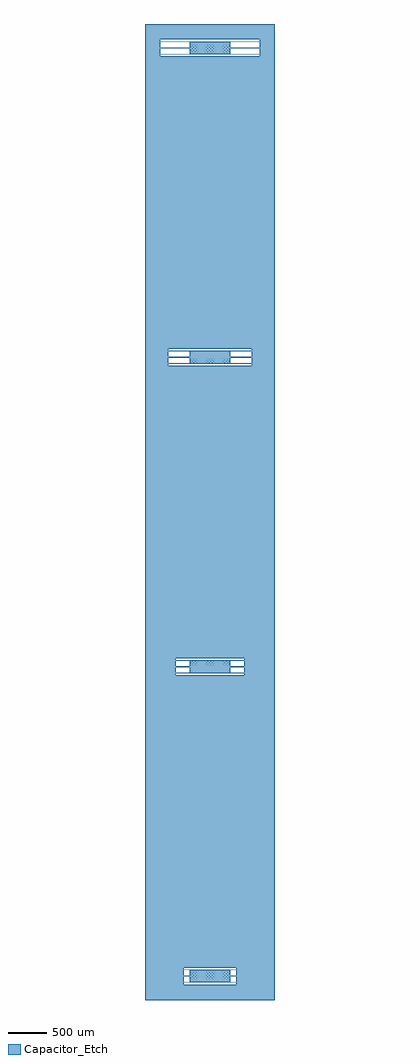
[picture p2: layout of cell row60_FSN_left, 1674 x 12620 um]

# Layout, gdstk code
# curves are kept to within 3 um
import gdstk
lib = gdstk.Library(unit=1e-6, precision=1e-09)
def R(c, l, rs):  # rectangles x0, y0, x1, y1
    for r in rs: c.add(gdstk.rectangle(r[:2], r[2:], *l))
def P(c, l, *ps):  # polygons
    for p in ps: c.add(gdstk.Polygon(p, *l))
Capacitor_Etch = (7, 0)

row60_fsn_left = lib.new_cell('row60_FSN_left')
R(row60_fsn_left, Capacitor_Etch, [(4495.25,12680,4635.25,12880), (4635.25,12680,4775.25,12880)])
P(row60_fsn_left, Capacitor_Etch, [(4635.25,488),(4635.25,575),(3813,575),(3813,498),(4309,498),(4309,559),(4315,565),(4385,565),(4391,555.25),(4395.25,555.25),(4395.25,564.75),(4404.75,564.75),(4404.75,555.25),(4435.25,555.25),(4435.25,564.75),(4444.75,564.75),(4444.75,555.25),(4475.25,555.25),(4475.25,564.75),(4484.75,564.75),(4484.75,555.25),(4515.25,555.25),(4515.25,564.75),(4524.75,564.75),(4524.75,555.25),(4555.25,555.25),(4555.25,564.75),(4564.75,564.75),(4564.75,555.25),(4595.25,555.25),(4595.25,564.75),(4604.75,564.75),(4604.75,555.25),(4391,555.25),(4391,535.25),(4415.25,535.25),(4415.25,544.75),(4424.75,544.75),(4424.75,535.25),(4455.25,535.25),(4455.25,544.75),(4464.75,544.75),(4464.75,535.25),(4495.25,535.25),(4495.25,544.75),(4504.75,544.75),(4504.75,535.25),(4535.25,535.25),(4535.25,544.75),(4544.75,544.75),(4544.75,535.25),(4575.25,535.25),(4575.25,544.75),(4584.75,544.75),(4584.75,535.25),(4615.25,535.25),(4615.25,544.75),(4624.75,544.75),(4624.75,535.25),(4391,535.25),(4391,515.25),(4395.25,515.25),(4395.25,524.75),(4404.75,524.75),(4404.75,515.25),(4435.25,515.25),(4435.25,524.75),(4444.75,524.75),(4444.75,515.25),(4475.25,515.25),(4475.25,524.75),(4484.75,524.75),(4484.75,515.25),(4515.25,515.25),(4515.25,524.75),(4524.75,524.75),(4524.75,515.25),(4555.25,515.25),(4555.25,524.75),(4564.75,524.75),(4564.75,515.25),(4595.25,515.25),(4595.25,524.75),(4604.75,524.75),(4604.75,515.25),(4391,515.25),(4388.25,495.25),(4415.25,495.25),(4415.25,504.75),(4424.75,504.75),(4424.75,495.25),(4455.25,495.25),(4455.25,504.75),(4464.75,504.75),(4464.75,495.25),(4495.25,495.25),(4495.25,504.75),(4504.75,504.75),(4504.75,495.25),(4535.25,495.25),(4535.25,504.75),(4544.75,504.75),(4544.75,495.25),(4575.25,495.25),(4575.25,504.75),(4584.75,504.75),(4584.75,495.25),(4615.25,495.25),(4615.25,504.75),(4624.75,504.75),(4624.75,495.25),(4315,492),(4309,498),(3813,498),(3813,260),(4635.25,260),(4635.25,460),(4309,460),(4309,488)],
  [(4635.25,564.75),(4644.75,564.75),(4644.75,555.25),(4675.25,555.25),(4675.25,564.75),(4684.75,564.75),(4684.75,555.25),(4715.25,555.25),(4715.25,564.75),(4724.75,564.75),(4724.75,555.25),(4755.25,555.25),(4755.25,564.75),(4764.75,564.75),(4764.75,555.25),(4795.25,555.25),(4795.25,564.75),(4804.75,564.75),(4804.75,555.25),(4835.25,555.25),(4835.25,564.75),(4844.75,564.75),(4844.75,555.25),(4875.25,555.25),(4875.25,564.75),(4884.75,564.75),(4884.75,555.25),(4635.25,555.25),(4635.25,535.25),(4655.25,535.25),(4655.25,544.75),(4664.75,544.75),(4664.75,535.25),(4695.25,535.25),(4695.25,544.75),(4704.75,544.75),(4704.75,535.25),(4735.25,535.25),(4735.25,544.75),(4744.75,544.75),(4744.75,535.25),(4775.25,535.25),(4775.25,544.75),(4784.75,544.75),(4784.75,535.25),(4815.25,535.25),(4815.25,544.75),(4824.75,544.75),(4824.75,535.25),(4855.25,535.25),(4855.25,544.75),(4864.75,544.75),(4864.75,535.25),(4895.25,535.25),(4895.25,544.75),(4904.75,544.75),(4904.75,535.25),(4635.25,535.25),(4635.25,524.75),(4644.75,524.75),(4644.75,515.25),(4675.25,515.25),(4675.25,524.75),(4684.75,524.75),(4684.75,515.25),(4715.25,515.25),(4715.25,524.75),(4724.75,524.75),(4724.75,515.25),(4755.25,515.25),(4755.25,524.75),(4764.75,524.75),(4764.75,515.25),(4795.25,515.25),(4795.25,524.75),(4804.75,524.75),(4804.75,515.25),(4835.25,515.25),(4835.25,524.75),(4844.75,524.75),(4844.75,515.25),(4875.25,515.25),(4875.25,524.75),(4884.75,524.75),(4884.75,515.25),(4635.25,515.25),(4635.25,495.25),(4655.25,495.25),(4655.25,504.75),(4664.75,504.75),(4664.75,495.25),(4695.25,495.25),(4695.25,504.75),(4704.75,504.75),(4704.75,495.25),(4735.25,495.25),(4735.25,504.75),(4744.75,504.75),(4744.75,495.25),(4775.25,495.25),(4775.25,504.75),(4784.75,504.75),(4784.75,495.25),(4815.25,495.25),(4815.25,504.75),(4824.75,504.75),(4824.75,495.25),(4855.25,495.25),(4855.25,504.75),(4864.75,504.75),(4864.75,495.25),(4895.25,495.25),(4895.25,504.75),(4904.75,504.75),(4904.75,498),(4909,498),(4909,559),(4915,565),(4985,565),(4991,559),(4991,498),(4985,492),(4915,492),(4909,498),(4635.25,495.25),(4635.25,488),(4991,488),(4991,460),(4635.25,460),(4635.25,260),(5487,260),(5487,575),(4635.25,575)],
  [(4309,581),(4309,615.25),(3813,615.25),(3813,575),(4315,575)],
  [(4385.25,575.25),(4415.25,575.25),(4415.25,584.75),(4424.75,584.75),(4424.75,575.25),(4455.25,575.25),(4455.25,584.75),(4464.75,584.75),(4464.75,575.25),(4495.25,575.25),(4495.25,584.75),(4504.75,584.75),(4504.75,575.25),(4535.25,575.25),(4535.25,584.75),(4544.75,584.75),(4544.75,575.25),(4575.25,575.25),(4575.25,584.75),(4584.75,584.75),(4584.75,575.25),(4615.25,575.25),(4615.25,584.75),(4624.75,584.75),(4624.75,575.25),(4655.25,575.25),(4655.25,584.75),(4664.75,584.75),(4664.75,575.25),(4695.25,575.25),(4695.25,584.75),(4704.75,584.75),(4704.75,575.25),(4735.25,575.25),(4735.25,584.75),(4744.75,584.75),(4744.75,575.25),(4775.25,575.25),(4775.25,584.75),(4784.75,584.75),(4784.75,575.25),(4815.25,575.25),(4815.25,584.75),(4824.75,584.75),(4824.75,575.25),(4855.25,575.25),(4855.25,584.75),(4864.75,584.75),(4864.75,575.25),(4895.25,575.25),(4895.25,584.75),(4904.75,584.75),(4904.75,575.25),(4385,575),(4915,575),(4909,581),(4909,615.25),(4391,615.25),(4391,595.25),(4395.25,595.25),(4395.25,604.75),(4404.75,604.75),(4404.75,595.25),(4435.25,595.25),(4435.25,604.75),(4444.75,604.75),(4444.75,595.25),(4475.25,595.25),(4475.25,604.75),(4484.75,604.75),(4484.75,595.25),(4515.25,595.25),(4515.25,604.75),(4524.75,604.75),(4524.75,595.25),(4555.25,595.25),(4555.25,604.75),(4564.75,604.75),(4564.75,595.25),(4595.25,595.25),(4595.25,604.75),(4604.75,604.75),(4604.75,595.25),(4635.25,595.25),(4635.25,604.75),(4644.75,604.75),(4644.75,595.25),(4675.25,595.25),(4675.25,604.75),(4684.75,604.75),(4684.75,595.25),(4715.25,595.25),(4715.25,604.75),(4724.75,604.75),(4724.75,595.25),(4755.25,595.25),(4755.25,604.75),(4764.75,604.75),(4764.75,595.25),(4795.25,595.25),(4795.25,604.75),(4804.75,604.75),(4804.75,595.25),(4835.25,595.25),(4835.25,604.75),(4844.75,604.75),(4844.75,595.25),(4875.25,595.25),(4875.25,604.75),(4884.75,604.75),(4884.75,595.25),(4391,595.25),(4391,581)],
  [(5487,615.25),(4991,615.25),(4991,581),(4985,575),(5487,575)],
  [(4415.25,615.25),(4415.25,624.75),(4424.75,624.75),(4424.75,615.25),(4455.25,615.25),(4455.25,624.75),(4464.75,624.75),(4464.75,615.25),(4495.25,615.25),(4495.25,624.75),(4504.75,624.75),(4504.75,615.25),(4535.25,615.25),(4535.25,624.75),(4544.75,624.75),(4544.75,615.25),(4575.25,615.25),(4575.25,624.75),(4584.75,624.75),(4584.75,615.25),(4615.25,615.25),(4615.25,624.75),(4624.75,624.75),(4624.75,615.25),(4655.25,615.25),(4655.25,624.75),(4664.75,624.75),(4664.75,615.25),(4695.25,615.25),(4695.25,624.75),(4704.75,624.75),(4704.75,615.25),(4735.25,615.25),(4735.25,624.75),(4744.75,624.75),(4744.75,615.25),(4775.25,615.25),(4775.25,624.75),(4784.75,624.75),(4784.75,615.25),(4815.25,615.25),(4815.25,624.75),(4824.75,624.75),(4824.75,615.25),(4855.25,615.25),(4855.25,624.75),(4864.75,624.75),(4864.75,615.25),(4895.25,615.25),(4895.25,624.75),(4904.75,624.75),(4904.75,615.25),(4909,615.25),(4909,642),(4915,648),(4985,648),(4991,642),(4991,615.25),(5487,615.25),(5487,4460),(3813,4460),(3813,652),(4309,652),(4309,680),(4991,680),(4991,652),(3813,652),(3813,615.25),(4309,615.25),(4309,642),(4315,648),(4385,648),(4391,635.25),(4395.25,635.25),(4395.25,644.75),(4404.75,644.75),(4404.75,635.25),(4435.25,635.25),(4435.25,644.75),(4444.75,644.75),(4444.75,635.25),(4475.25,635.25),(4475.25,644.75),(4484.75,644.75),(4484.75,635.25),(4515.25,635.25),(4515.25,644.75),(4524.75,644.75),(4524.75,635.25),(4555.25,635.25),(4555.25,644.75),(4564.75,644.75),(4564.75,635.25),(4595.25,635.25),(4595.25,644.75),(4604.75,644.75),(4604.75,635.25),(4635.25,635.25),(4635.25,644.75),(4644.75,644.75),(4644.75,635.25),(4675.25,635.25),(4675.25,644.75),(4684.75,644.75),(4684.75,635.25),(4715.25,635.25),(4715.25,644.75),(4724.75,644.75),(4724.75,635.25),(4755.25,635.25),(4755.25,644.75),(4764.75,644.75),(4764.75,635.25),(4795.25,635.25),(4795.25,644.75),(4804.75,644.75),(4804.75,635.25),(4835.25,635.25),(4835.25,644.75),(4844.75,644.75),(4844.75,635.25),(4875.25,635.25),(4875.25,644.75),(4884.75,644.75),(4884.75,635.25),(4391,635.25),(4391,615.25)],
  [(4644.75,4524.75),(4644.75,4555.25),(4635.25,4555.25),(4635.25,4564.75),(4644.75,4564.75),(4644.75,4575),(3813,4575),(3813,4498),(4209,4498),(4209,4559),(4215,4565),(4385,4565),(4391,4555.25),(4395.25,4555.25),(4395.25,4564.75),(4404.75,4564.75),(4404.75,4555.25),(4435.25,4555.25),(4435.25,4564.75),(4444.75,4564.75),(4444.75,4555.25),(4475.25,4555.25),(4475.25,4564.75),(4484.75,4564.75),(4484.75,4555.25),(4515.25,4555.25),(4515.25,4564.75),(4524.75,4564.75),(4524.75,4555.25),(4555.25,4555.25),(4555.25,4564.75),(4564.75,4564.75),(4564.75,4555.25),(4595.25,4555.25),(4595.25,4564.75),(4604.75,4564.75),(4604.75,4555.25),(4391,4555.25),(4391,4535.25),(4415.25,4535.25),(4415.25,4544.75),(4424.75,4544.75),(4424.75,4535.25),(4455.25,4535.25),(4455.25,4544.75),(4464.75,4544.75),(4464.75,4535.25),(4495.25,4535.25),(4495.25,4544.75),(4504.75,4544.75),(4504.75,4535.25),(4535.25,4535.25),(4535.25,4544.75),(4544.75,4544.75),(4544.75,4535.25),(4575.25,4535.25),(4575.25,4544.75),(4584.75,4544.75),(4584.75,4535.25),(4615.25,4535.25),(4615.25,4544.75),(4624.75,4544.75),(4624.75,4535.25),(4391,4535.25),(4391,4515.25),(4395.25,4515.25),(4395.25,4524.75),(4404.75,4524.75),(4404.75,4515.25),(4435.25,4515.25),(4435.25,4524.75),(4444.75,4524.75),(4444.75,4515.25),(4475.25,4515.25),(4475.25,4524.75),(4484.75,4524.75),(4484.75,4515.25),(4515.25,4515.25),(4515.25,4524.75),(4524.75,4524.75),(4524.75,4515.25),(4555.25,4515.25),(4555.25,4524.75),(4564.75,4524.75),(4564.75,4515.25),(4595.25,4515.25),(4595.25,4524.75),(4604.75,4524.75),(4604.75,4515.25),(4391,4515.25),(4388.25,4495.25),(4415.25,4495.25),(4415.25,4504.75),(4424.75,4504.75),(4424.75,4495.25),(4455.25,4495.25),(4455.25,4504.75),(4464.75,4504.75),(4464.75,4495.25),(4495.25,4495.25),(4495.25,4504.75),(4504.75,4504.75),(4504.75,4495.25),(4535.25,4495.25),(4535.25,4504.75),(4544.75,4504.75),(4544.75,4495.25),(4575.25,4495.25),(4575.25,4504.75),(4584.75,4504.75),(4584.75,4495.25),(4615.25,4495.25),(4615.25,4504.75),(4624.75,4504.75),(4624.75,4495.25),(4215,4492),(4209,4498),(3813,4498),(3813,4460),(4209,4460),(4209,4488),(4644.75,4488),(4644.75,4515.25),(4635.25,4515.25),(4635.25,4524.75)],
  [(4644.75,4555.25),(4675.25,4555.25),(4675.25,4564.75),(4684.75,4564.75),(4684.75,4555.25),(4715.25,4555.25),(4715.25,4564.75),(4724.75,4564.75),(4724.75,4555.25),(4755.25,4555.25),(4755.25,4564.75),(4764.75,4564.75),(4764.75,4555.25),(4795.25,4555.25),(4795.25,4564.75),(4804.75,4564.75),(4804.75,4555.25),(4835.25,4555.25),(4835.25,4564.75),(4844.75,4564.75),(4844.75,4555.25),(4875.25,4555.25),(4875.25,4564.75),(4884.75,4564.75),(4884.75,4555.25),(4644.75,4555.25),(4644.75,4535.25),(4655.25,4535.25),(4655.25,4544.75),(4664.75,4544.75),(4664.75,4535.25),(4695.25,4535.25),(4695.25,4544.75),(4704.75,4544.75),(4704.75,4535.25),(4735.25,4535.25),(4735.25,4544.75),(4744.75,4544.75),(4744.75,4535.25),(4775.25,4535.25),(4775.25,4544.75),(4784.75,4544.75),(4784.75,4535.25),(4815.25,4535.25),(4815.25,4544.75),(4824.75,4544.75),(4824.75,4535.25),(4855.25,4535.25),(4855.25,4544.75),(4864.75,4544.75),(4864.75,4535.25),(4895.25,4535.25),(4895.25,4544.75),(4904.75,4544.75),(4904.75,4535.25),(4644.75,4535.25),(4644.75,4515.25),(4675.25,4515.25),(4675.25,4524.75),(4684.75,4524.75),(4684.75,4515.25),(4715.25,4515.25),(4715.25,4524.75),(4724.75,4524.75),(4724.75,4515.25),(4755.25,4515.25),(4755.25,4524.75),(4764.75,4524.75),(4764.75,4515.25),(4795.25,4515.25),(4795.25,4524.75),(4804.75,4524.75),(4804.75,4515.25),(4835.25,4515.25),(4835.25,4524.75),(4844.75,4524.75),(4844.75,4515.25),(4875.25,4515.25),(4875.25,4524.75),(4884.75,4524.75),(4884.75,4515.25),(4644.75,4515.25),(4644.75,4495.25),(4655.25,4495.25),(4655.25,4504.75),(4664.75,4504.75),(4664.75,4495.25),(4695.25,4495.25),(4695.25,4504.75),(4704.75,4504.75),(4704.75,4495.25),(4735.25,4495.25),(4735.25,4504.75),(4744.75,4504.75),(4744.75,4495.25),(4775.25,4495.25),(4775.25,4504.75),(4784.75,4504.75),(4784.75,4495.25),(4815.25,4495.25),(4815.25,4504.75),(4824.75,4504.75),(4824.75,4495.25),(4855.25,4495.25),(4855.25,4504.75),(4864.75,4504.75),(4864.75,4495.25),(4895.25,4495.25),(4895.25,4504.75),(4904.75,4504.75),(4904.75,4498),(4909,4498),(4909,4559),(4915,4565),(5085,4565),(5091,4559),(5091,4498),(5085,4492),(4915,4492),(4904.75,4498),(4644.75,4495.25),(4644.75,4488),(5091,4488),(5091,4460),(5487,4460),(5487,4575),(4644.75,4575)],
  [(4209,4581),(4209,4615.25),(3813,4615.25),(3813,4575),(4215,4575)],
  [(4385.25,4575.25),(4415.25,4575.25),(4415.25,4584.75),(4424.75,4584.75),(4424.75,4575.25),(4455.25,4575.25),(4455.25,4584.75),(4464.75,4584.75),(4464.75,4575.25),(4495.25,4575.25),(4495.25,4584.75),(4504.75,4584.75),(4504.75,4575.25),(4535.25,4575.25),(4535.25,4584.75),(4544.75,4584.75),(4544.75,4575.25),(4575.25,4575.25),(4575.25,4584.75),(4584.75,4584.75),(4584.75,4575.25),(4615.25,4575.25),(4615.25,4584.75),(4624.75,4584.75),(4624.75,4575.25),(4655.25,4575.25),(4655.25,4584.75),(4664.75,4584.75),(4664.75,4575.25),(4695.25,4575.25),(4695.25,4584.75),(4704.75,4584.75),(4704.75,4575.25),(4735.25,4575.25),(4735.25,4584.75),(4744.75,4584.75),(4744.75,4575.25),(4775.25,4575.25),(4775.25,4584.75),(4784.75,4584.75),(4784.75,4575.25),(4815.25,4575.25),(4815.25,4584.75),(4824.75,4584.75),(4824.75,4575.25),(4855.25,4575.25),(4855.25,4584.75),(4864.75,4584.75),(4864.75,4575.25),(4895.25,4575.25),(4895.25,4584.75),(4904.75,4584.75),(4904.75,4575.25),(4385,4575),(4915,4575),(4909,4581),(4909,4615.25),(4391,4615.25),(4391,4595.25),(4395.25,4595.25),(4395.25,4604.75),(4404.75,4604.75),(4404.75,4595.25),(4435.25,4595.25),(4435.25,4604.75),(4444.75,4604.75),(4444.75,4595.25),(4475.25,4595.25),(4475.25,4604.75),(4484.75,4604.75),(4484.75,4595.25),(4515.25,4595.25),(4515.25,4604.75),(4524.75,4604.75),(4524.75,4595.25),(4555.25,4595.25),(4555.25,4604.75),(4564.75,4604.75),(4564.75,4595.25),(4595.25,4595.25),(4595.25,4604.75),(4604.75,4604.75),(4604.75,4595.25),(4635.25,4595.25),(4635.25,4604.75),(4644.75,4604.75),(4644.75,4595.25),(4675.25,4595.25),(4675.25,4604.75),(4684.75,4604.75),(4684.75,4595.25),(4715.25,4595.25),(4715.25,4604.75),(4724.75,4604.75),(4724.75,4595.25),(4755.25,4595.25),(4755.25,4604.75),(4764.75,4604.75),(4764.75,4595.25),(4795.25,4595.25),(4795.25,4604.75),(4804.75,4604.75),(4804.75,4595.25),(4835.25,4595.25),(4835.25,4604.75),(4844.75,4604.75),(4844.75,4595.25),(4875.25,4595.25),(4875.25,4604.75),(4884.75,4604.75),(4884.75,4595.25),(4391,4595.25),(4391,4581)],
  [(5487,4615.25),(5091,4615.25),(5091,4581),(5085,4575),(5487,4575)],
  [(4415.25,4615.25),(4415.25,4624.75),(4424.75,4624.75),(4424.75,4615.25),(4455.25,4615.25),(4455.25,4624.75),(4464.75,4624.75),(4464.75,4615.25),(4495.25,4615.25),(4495.25,4624.75),(4504.75,4624.75),(4504.75,4615.25),(4535.25,4615.25),(4535.25,4624.75),(4544.75,4624.75),(4544.75,4615.25),(4575.25,4615.25),(4575.25,4624.75),(4584.75,4624.75),(4584.75,4615.25),(4615.25,4615.25),(4615.25,4624.75),(4624.75,4624.75),(4624.75,4615.25),(4655.25,4615.25),(4655.25,4624.75),(4664.75,4624.75),(4664.75,4615.25),(4695.25,4615.25),(4695.25,4624.75),(4704.75,4624.75),(4704.75,4615.25),(4735.25,4615.25),(4735.25,4624.75),(4744.75,4624.75),(4744.75,4615.25),(4775.25,4615.25),(4775.25,4624.75),(4784.75,4624.75),(4784.75,4615.25),(4815.25,4615.25),(4815.25,4624.75),(4824.75,4624.75),(4824.75,4615.25),(4855.25,4615.25),(4855.25,4624.75),(4864.75,4624.75),(4864.75,4615.25),(4895.25,4615.25),(4895.25,4624.75),(4904.75,4624.75),(4904.75,4615.25),(4909,4615.25),(4909,4642),(4915,4648),(5085,4648),(5091,4642),(5091,4615.25),(5487,4615.25),(5487,8460),(3813,8460),(3813,4652),(4209,4652),(4209,4680),(5091,4680),(5091,4652),(3813,4652),(3813,4615.25),(4209,4615.25),(4209,4642),(4215,4648),(4385,4648),(4391,4635.25),(4395.25,4635.25),(4395.25,4644.75),(4404.75,4644.75),(4404.75,4635.25),(4435.25,4635.25),(4435.25,4644.75),(4444.75,4644.75),(4444.75,4635.25),(4475.25,4635.25),(4475.25,4644.75),(4484.75,4644.75),(4484.75,4635.25),(4515.25,4635.25),(4515.25,4644.75),(4524.75,4644.75),(4524.75,4635.25),(4555.25,4635.25),(4555.25,4644.75),(4564.75,4644.75),(4564.75,4635.25),(4595.25,4635.25),(4595.25,4644.75),(4604.75,4644.75),(4604.75,4635.25),(4635.25,4635.25),(4635.25,4644.75),(4644.75,4644.75),(4644.75,4635.25),(4675.25,4635.25),(4675.25,4644.75),(4684.75,4644.75),(4684.75,4635.25),(4715.25,4635.25),(4715.25,4644.75),(4724.75,4644.75),(4724.75,4635.25),(4755.25,4635.25),(4755.25,4644.75),(4764.75,4644.75),(4764.75,4635.25),(4795.25,4635.25),(4795.25,4644.75),(4804.75,4644.75),(4804.75,4635.25),(4835.25,4635.25),(4835.25,4644.75),(4844.75,4644.75),(4844.75,4635.25),(4875.25,4635.25),(4875.25,4644.75),(4884.75,4644.75),(4884.75,4635.25),(4391,4635.25),(4391,4615.25)],
  [(4644.75,8524.75),(4644.75,8555.25),(4635.25,8555.25),(4635.25,8564.75),(4644.75,8564.75),(4644.75,8575),(3813,8575),(3813,8498),(4109,8498),(4109,8559),(4115,8565),(4385,8565),(4391,8555.25),(4395.25,8555.25),(4395.25,8564.75),(4404.75,8564.75),(4404.75,8555.25),(4435.25,8555.25),(4435.25,8564.75),(4444.75,8564.75),(4444.75,8555.25),(4475.25,8555.25),(4475.25,8564.75),(4484.75,8564.75),(4484.75,8555.25),(4515.25,8555.25),(4515.25,8564.75),(4524.75,8564.75),(4524.75,8555.25),(4555.25,8555.25),(4555.25,8564.75),(4564.75,8564.75),(4564.75,8555.25),(4595.25,8555.25),(4595.25,8564.75),(4604.75,8564.75),(4604.75,8555.25),(4391,8555.25),(4391,8535.25),(4415.25,8535.25),(4415.25,8544.75),(4424.75,8544.75),(4424.75,8535.25),(4455.25,8535.25),(4455.25,8544.75),(4464.75,8544.75),(4464.75,8535.25),(4495.25,8535.25),(4495.25,8544.75),(4504.75,8544.75),(4504.75,8535.25),(4535.25,8535.25),(4535.25,8544.75),(4544.75,8544.75),(4544.75,8535.25),(4575.25,8535.25),(4575.25,8544.75),(4584.75,8544.75),(4584.75,8535.25),(4615.25,8535.25),(4615.25,8544.75),(4624.75,8544.75),(4624.75,8535.25),(4391,8535.25),(4391,8515.25),(4395.25,8515.25),(4395.25,8524.75),(4404.75,8524.75),(4404.75,8515.25),(4435.25,8515.25),(4435.25,8524.75),(4444.75,8524.75),(4444.75,8515.25),(4475.25,8515.25),(4475.25,8524.75),(4484.75,8524.75),(4484.75,8515.25),(4515.25,8515.25),(4515.25,8524.75),(4524.75,8524.75),(4524.75,8515.25),(4555.25,8515.25),(4555.25,8524.75),(4564.75,8524.75),(4564.75,8515.25),(4595.25,8515.25),(4595.25,8524.75),(4604.75,8524.75),(4604.75,8515.25),(4391,8515.25),(4391,8498),(4388.25,8495.25),(4415.25,8495.25),(4415.25,8504.75),(4424.75,8504.75),(4424.75,8495.25),(4455.25,8495.25),(4455.25,8504.75),(4464.75,8504.75),(4464.75,8495.25),(4495.25,8495.25),(4495.25,8504.75),(4504.75,8504.75),(4504.75,8495.25),(4535.25,8495.25),(4535.25,8504.75),(4544.75,8504.75),(4544.75,8495.25),(4575.25,8495.25),(4575.25,8504.75),(4584.75,8504.75),(4584.75,8495.25),(4615.25,8495.25),(4615.25,8504.75),(4624.75,8504.75),(4624.75,8495.25),(4115,8492),(4109,8498),(3813,8498),(3813,8460),(4109,8460),(4109,8488),(4644.75,8488),(4644.75,8515.25),(4635.25,8515.25),(4635.25,8524.75)],
  [(4644.75,8555.25),(4675.25,8555.25),(4675.25,8564.75),(4684.75,8564.75),(4684.75,8555.25),(4715.25,8555.25),(4715.25,8564.75),(4724.75,8564.75),(4724.75,8555.25),(4755.25,8555.25),(4755.25,8564.75),(4764.75,8564.75),(4764.75,8555.25),(4795.25,8555.25),(4795.25,8564.75),(4804.75,8564.75),(4804.75,8555.25),(4835.25,8555.25),(4835.25,8564.75),(4844.75,8564.75),(4844.75,8555.25),(4875.25,8555.25),(4875.25,8564.75),(4884.75,8564.75),(4884.75,8555.25),(4644.75,8555.25),(4644.75,8535.25),(4655.25,8535.25),(4655.25,8544.75),(4664.75,8544.75),(4664.75,8535.25),(4695.25,8535.25),(4695.25,8544.75),(4704.75,8544.75),(4704.75,8535.25),(4735.25,8535.25),(4735.25,8544.75),(4744.75,8544.75),(4744.75,8535.25),(4775.25,8535.25),(4775.25,8544.75),(4784.75,8544.75),(4784.75,8535.25),(4815.25,8535.25),(4815.25,8544.75),(4824.75,8544.75),(4824.75,8535.25),(4855.25,8535.25),(4855.25,8544.75),(4864.75,8544.75),(4864.75,8535.25),(4895.25,8535.25),(4895.25,8544.75),(4904.75,8544.75),(4904.75,8535.25),(4644.75,8535.25),(4644.75,8515.25),(4675.25,8515.25),(4675.25,8524.75),(4684.75,8524.75),(4684.75,8515.25),(4715.25,8515.25),(4715.25,8524.75),(4724.75,8524.75),(4724.75,8515.25),(4755.25,8515.25),(4755.25,8524.75),(4764.75,8524.75),(4764.75,8515.25),(4795.25,8515.25),(4795.25,8524.75),(4804.75,8524.75),(4804.75,8515.25),(4835.25,8515.25),(4835.25,8524.75),(4844.75,8524.75),(4844.75,8515.25),(4875.25,8515.25),(4875.25,8524.75),(4884.75,8524.75),(4884.75,8515.25),(4644.75,8515.25),(4644.75,8495.25),(4655.25,8495.25),(4655.25,8504.75),(4664.75,8504.75),(4664.75,8495.25),(4695.25,8495.25),(4695.25,8504.75),(4704.75,8504.75),(4704.75,8495.25),(4735.25,8495.25),(4735.25,8504.75),(4744.75,8504.75),(4744.75,8495.25),(4775.25,8495.25),(4775.25,8504.75),(4784.75,8504.75),(4784.75,8495.25),(4815.25,8495.25),(4815.25,8504.75),(4824.75,8504.75),(4824.75,8495.25),(4855.25,8495.25),(4855.25,8504.75),(4864.75,8504.75),(4864.75,8495.25),(4895.25,8495.25),(4895.25,8504.75),(4904.75,8504.75),(4904.75,8498),(4909,8498),(4909,8559),(4915,8565),(5185,8565),(5191,8559),(5191,8498),(5185,8492),(4915,8492),(4904.75,8498),(4904.75,8495.25),(4644.75,8495.25),(4644.75,8488),(5191,8488),(5191,8460),(5487,8460),(5487,8575),(4644.75,8575)],
  [(4109,8581),(4109,8615.25),(3813,8615.25),(3813,8575),(4115,8575)],
  [(4385.25,8575.25),(4415.25,8575.25),(4415.25,8584.75),(4424.75,8584.75),(4424.75,8575.25),(4455.25,8575.25),(4455.25,8584.75),(4464.75,8584.75),(4464.75,8575.25),(4495.25,8575.25),(4495.25,8584.75),(4504.75,8584.75),(4504.75,8575.25),(4535.25,8575.25),(4535.25,8584.75),(4544.75,8584.75),(4544.75,8575.25),(4575.25,8575.25),(4575.25,8584.75),(4584.75,8584.75),(4584.75,8575.25),(4615.25,8575.25),(4615.25,8584.75),(4624.75,8584.75),(4624.75,8575.25),(4655.25,8575.25),(4655.25,8584.75),(4664.75,8584.75),(4664.75,8575.25),(4695.25,8575.25),(4695.25,8584.75),(4704.75,8584.75),(4704.75,8575.25),(4735.25,8575.25),(4735.25,8584.75),(4744.75,8584.75),(4744.75,8575.25),(4775.25,8575.25),(4775.25,8584.75),(4784.75,8584.75),(4784.75,8575.25),(4815.25,8575.25),(4815.25,8584.75),(4824.75,8584.75),(4824.75,8575.25),(4855.25,8575.25),(4855.25,8584.75),(4864.75,8584.75),(4864.75,8575.25),(4895.25,8575.25),(4895.25,8584.75),(4904.75,8584.75),(4904.75,8575.25),(4385,8575),(4915,8575),(4909,8581),(4909,8615.25),(4391,8615.25),(4391,8595.25),(4395.25,8595.25),(4395.25,8604.75),(4404.75,8604.75),(4404.75,8595.25),(4435.25,8595.25),(4435.25,8604.75),(4444.75,8604.75),(4444.75,8595.25),(4475.25,8595.25),(4475.25,8604.75),(4484.75,8604.75),(4484.75,8595.25),(4515.25,8595.25),(4515.25,8604.75),(4524.75,8604.75),(4524.75,8595.25),(4555.25,8595.25),(4555.25,8604.75),(4564.75,8604.75),(4564.75,8595.25),(4595.25,8595.25),(4595.25,8604.75),(4604.75,8604.75),(4604.75,8595.25),(4635.25,8595.25),(4635.25,8604.75),(4644.75,8604.75),(4644.75,8595.25),(4675.25,8595.25),(4675.25,8604.75),(4684.75,8604.75),(4684.75,8595.25),(4715.25,8595.25),(4715.25,8604.75),(4724.75,8604.75),(4724.75,8595.25),(4755.25,8595.25),(4755.25,8604.75),(4764.75,8604.75),(4764.75,8595.25),(4795.25,8595.25),(4795.25,8604.75),(4804.75,8604.75),(4804.75,8595.25),(4835.25,8595.25),(4835.25,8604.75),(4844.75,8604.75),(4844.75,8595.25),(4875.25,8595.25),(4875.25,8604.75),(4884.75,8604.75),(4884.75,8595.25),(4391,8595.25),(4391,8581)],
  [(5487,8615.25),(5191,8615.25),(5191,8581),(5185,8575),(5487,8575)],
  [(4415.25,8615.25),(4415.25,8624.75),(4424.75,8624.75),(4424.75,8615.25),(4455.25,8615.25),(4455.25,8624.75),(4464.75,8624.75),(4464.75,8615.25),(4495.25,8615.25),(4495.25,8624.75),(4504.75,8624.75),(4504.75,8615.25),(4535.25,8615.25),(4535.25,8624.75),(4544.75,8624.75),(4544.75,8615.25),(4575.25,8615.25),(4575.25,8624.75),(4584.75,8624.75),(4584.75,8615.25),(4615.25,8615.25),(4615.25,8624.75),(4624.75,8624.75),(4624.75,8615.25),(4655.25,8615.25),(4655.25,8624.75),(4664.75,8624.75),(4664.75,8615.25),(4695.25,8615.25),(4695.25,8624.75),(4704.75,8624.75),(4704.75,8615.25),(4735.25,8615.25),(4735.25,8624.75),(4744.75,8624.75),(4744.75,8615.25),(4775.25,8615.25),(4775.25,8624.75),(4784.75,8624.75),(4784.75,8615.25),(4815.25,8615.25),(4815.25,8624.75),(4824.75,8624.75),(4824.75,8615.25),(4855.25,8615.25),(4855.25,8624.75),(4864.75,8624.75),(4864.75,8615.25),(4895.25,8615.25),(4895.25,8624.75),(4904.75,8624.75),(4904.75,8615.25),(4909,8615.25),(4909,8642),(4915,8648),(5185,8648),(5191,8642),(5191,8615.25),(5487,8615.25),(5487,12460),(3813,12460),(3813,8652),(4109,8652),(4109,8680),(5191,8680),(5191,8652),(3813,8652),(3813,8615.25),(4109,8615.25),(4109,8642),(4115,8648),(4385,8648),(4391,8635.25),(4395.25,8635.25),(4395.25,8644.75),(4404.75,8644.75),(4404.75,8635.25),(4435.25,8635.25),(4435.25,8644.75),(4444.75,8644.75),(4444.75,8635.25),(4475.25,8635.25),(4475.25,8644.75),(4484.75,8644.75),(4484.75,8635.25),(4515.25,8635.25),(4515.25,8644.75),(4524.75,8644.75),(4524.75,8635.25),(4555.25,8635.25),(4555.25,8644.75),(4564.75,8644.75),(4564.75,8635.25),(4595.25,8635.25),(4595.25,8644.75),(4604.75,8644.75),(4604.75,8635.25),(4635.25,8635.25),(4635.25,8644.75),(4644.75,8644.75),(4644.75,8635.25),(4675.25,8635.25),(4675.25,8644.75),(4684.75,8644.75),(4684.75,8635.25),(4715.25,8635.25),(4715.25,8644.75),(4724.75,8644.75),(4724.75,8635.25),(4755.25,8635.25),(4755.25,8644.75),(4764.75,8644.75),(4764.75,8635.25),(4795.25,8635.25),(4795.25,8644.75),(4804.75,8644.75),(4804.75,8635.25),(4835.25,8635.25),(4835.25,8644.75),(4844.75,8644.75),(4844.75,8635.25),(4875.25,8635.25),(4875.25,8644.75),(4884.75,8644.75),(4884.75,8635.25),(4391,8635.25),(4391,8615.25)],
  [(4009,12460),(4009,12488),(4495.25,12488),(4495.25,12652),(4009,12652),(4009,12680),(4495.25,12680),(4495.25,12880),(3813,12880),(3813,12581),(4009,12581),(4009,12642),(4015,12648),(4385,12648),(4391,12635.25),(4395.25,12635.25),(4395.25,12644.75),(4404.75,12644.75),(4404.75,12635.25),(4435.25,12635.25),(4435.25,12644.75),(4444.75,12644.75),(4444.75,12635.25),(4475.25,12635.25),(4475.25,12644.75),(4484.75,12644.75),(4484.75,12635.25),(4391,12635.25),(4391,12615.25),(4415.25,12615.25),(4415.25,12624.75),(4424.75,12624.75),(4424.75,12615.25),(4455.25,12615.25),(4455.25,12624.75),(4464.75,12624.75),(4464.75,12615.25),(4391,12615.25),(4391,12595.25),(4395.25,12595.25),(4395.25,12604.75),(4404.75,12604.75),(4404.75,12595.25),(4435.25,12595.25),(4435.25,12604.75),(4444.75,12604.75),(4444.75,12595.25),(4475.25,12595.25),(4475.25,12604.75),(4484.75,12604.75),(4484.75,12595.25),(4391,12595.25),(4391,12581),(4385.25,12575.25),(4415.25,12575.25),(4415.25,12584.75),(4424.75,12584.75),(4424.75,12575.25),(4455.25,12575.25),(4455.25,12584.75),(4464.75,12584.75),(4464.75,12575.25),(4015,12575),(4009,12581),(3813,12581),(3813,12498),(4009,12498),(4009,12559),(4015,12565),(4385,12565),(4391,12555.25),(4395.25,12555.25),(4395.25,12564.75),(4404.75,12564.75),(4404.75,12555.25),(4435.25,12555.25),(4435.25,12564.75),(4444.75,12564.75),(4444.75,12555.25),(4475.25,12555.25),(4475.25,12564.75),(4484.75,12564.75),(4484.75,12555.25),(4391,12555.25),(4391,12535.25),(4415.25,12535.25),(4415.25,12544.75),(4424.75,12544.75),(4424.75,12535.25),(4455.25,12535.25),(4455.25,12544.75),(4464.75,12544.75),(4464.75,12535.25),(4391,12535.25),(4391,12515.25),(4395.25,12515.25),(4395.25,12524.75),(4404.75,12524.75),(4404.75,12515.25),(4435.25,12515.25),(4435.25,12524.75),(4444.75,12524.75),(4444.75,12515.25),(4475.25,12515.25),(4475.25,12524.75),(4484.75,12524.75),(4484.75,12515.25),(4391,12515.25),(4388.25,12495.25),(4415.25,12495.25),(4415.25,12504.75),(4424.75,12504.75),(4424.75,12495.25),(4455.25,12495.25),(4455.25,12504.75),(4464.75,12504.75),(4464.75,12495.25),(4015,12492),(4009,12498),(3813,12498),(3813,12460)],
  [(4504.75,12615.25),(4535.25,12615.25),(4535.25,12624.75),(4544.75,12624.75),(4544.75,12615.25),(4575.25,12615.25),(4575.25,12624.75),(4584.75,12624.75),(4584.75,12615.25),(4615.25,12615.25),(4615.25,12624.75),(4624.75,12624.75),(4624.75,12615.25),(4615.25,12615.25),(4584.75,12615.25),(4575.25,12615.25),(4544.75,12615.25),(4535.25,12615.25),(4504.75,12615.25),(4495.25,12615.25),(4495.25,12595.25),(4515.25,12595.25),(4515.25,12604.75),(4524.75,12604.75),(4524.75,12595.25),(4555.25,12595.25),(4555.25,12604.75),(4564.75,12604.75),(4564.75,12595.25),(4595.25,12595.25),(4595.25,12604.75),(4604.75,12604.75),(4604.75,12595.25),(4595.25,12595.25),(4564.75,12595.25),(4555.25,12595.25),(4524.75,12595.25),(4515.25,12595.25),(4495.25,12595.25),(4495.25,12584.75),(4504.75,12584.75),(4504.75,12575.25),(4535.25,12575.25),(4535.25,12584.75),(4544.75,12584.75),(4544.75,12575.25),(4575.25,12575.25),(4575.25,12584.75),(4584.75,12584.75),(4584.75,12575.25),(4615.25,12575.25),(4615.25,12584.75),(4624.75,12584.75),(4624.75,12575.25),(4615.25,12575.25),(4584.75,12575.25),(4575.25,12575.25),(4544.75,12575.25),(4535.25,12575.25),(4504.75,12575.25),(4495.25,12575.25),(4495.25,12555.25),(4515.25,12555.25),(4515.25,12564.75),(4524.75,12564.75),(4524.75,12555.25),(4555.25,12555.25),(4555.25,12564.75),(4564.75,12564.75),(4564.75,12555.25),(4595.25,12555.25),(4595.25,12564.75),(4604.75,12564.75),(4604.75,12555.25),(4595.25,12555.25),(4564.75,12555.25),(4555.25,12555.25),(4524.75,12555.25),(4515.25,12555.25),(4495.25,12555.25),(4495.25,12544.75),(4504.75,12544.75),(4504.75,12535.25),(4535.25,12535.25),(4535.25,12544.75),(4544.75,12544.75),(4544.75,12535.25),(4575.25,12535.25),(4575.25,12544.75),(4584.75,12544.75),(4584.75,12535.25),(4615.25,12535.25),(4615.25,12544.75),(4624.75,12544.75),(4624.75,12535.25),(4615.25,12535.25),(4584.75,12535.25),(4575.25,12535.25),(4544.75,12535.25),(4535.25,12535.25),(4504.75,12535.25),(4495.25,12535.25),(4495.25,12515.25),(4515.25,12515.25),(4515.25,12524.75),(4524.75,12524.75),(4524.75,12515.25),(4555.25,12515.25),(4555.25,12524.75),(4564.75,12524.75),(4564.75,12515.25),(4595.25,12515.25),(4595.25,12524.75),(4604.75,12524.75),(4604.75,12515.25),(4595.25,12515.25),(4564.75,12515.25),(4555.25,12515.25),(4524.75,12515.25),(4515.25,12515.25),(4495.25,12515.25),(4495.25,12504.75),(4504.75,12504.75),(4504.75,12495.25),(4535.25,12495.25),(4535.25,12504.75),(4544.75,12504.75),(4544.75,12495.25),(4575.25,12495.25),(4575.25,12504.75),(4584.75,12504.75),(4584.75,12495.25),(4615.25,12495.25),(4615.25,12504.75),(4624.75,12504.75),(4624.75,12495.25),(4615.25,12495.25),(4584.75,12495.25),(4575.25,12495.25),(4544.75,12495.25),(4535.25,12495.25),(4504.75,12495.25),(4495.25,12495.25),(4495.25,12488),(4635.25,12488),(4635.25,12652),(4495.25,12652),(4495.25,12635.25),(4515.25,12635.25),(4515.25,12644.75),(4524.75,12644.75),(4524.75,12635.25),(4555.25,12635.25),(4555.25,12644.75),(4564.75,12644.75),(4564.75,12635.25),(4595.25,12635.25),(4595.25,12644.75),(4604.75,12644.75),(4604.75,12635.25),(4595.25,12635.25),(4564.75,12635.25),(4555.25,12635.25),(4524.75,12635.25),(4515.25,12635.25),(4495.25,12635.25),(4495.25,12624.75),(4504.75,12624.75)],
  [(4635.25,12652),(4635.25,12644.75),(4644.75,12644.75),(4644.75,12635.25),(4675.25,12635.25),(4675.25,12644.75),(4684.75,12644.75),(4684.75,12635.25),(4715.25,12635.25),(4715.25,12644.75),(4724.75,12644.75),(4724.75,12635.25),(4755.25,12635.25),(4755.25,12644.75),(4764.75,12644.75),(4764.75,12635.25),(4755.25,12635.25),(4724.75,12635.25),(4715.25,12635.25),(4684.75,12635.25),(4675.25,12635.25),(4644.75,12635.25),(4635.25,12635.25),(4635.25,12615.25),(4655.25,12615.25),(4655.25,12624.75),(4664.75,12624.75),(4664.75,12615.25),(4695.25,12615.25),(4695.25,12624.75),(4704.75,12624.75),(4704.75,12615.25),(4735.25,12615.25),(4735.25,12624.75),(4744.75,12624.75),(4744.75,12615.25),(4735.25,12615.25),(4704.75,12615.25),(4695.25,12615.25),(4664.75,12615.25),(4655.25,12615.25),(4635.25,12615.25),(4635.25,12604.75),(4644.75,12604.75),(4644.75,12595.25),(4675.25,12595.25),(4675.25,12604.75),(4684.75,12604.75),(4684.75,12595.25),(4715.25,12595.25),(4715.25,12604.75),(4724.75,12604.75),(4724.75,12595.25),(4755.25,12595.25),(4755.25,12604.75),(4764.75,12604.75),(4764.75,12595.25),(4755.25,12595.25),(4724.75,12595.25),(4715.25,12595.25),(4684.75,12595.25),(4675.25,12595.25),(4644.75,12595.25),(4635.25,12595.25),(4635.25,12575.25),(4655.25,12575.25),(4655.25,12584.75),(4664.75,12584.75),(4664.75,12575.25),(4695.25,12575.25),(4695.25,12584.75),(4704.75,12584.75),(4704.75,12575.25),(4735.25,12575.25),(4735.25,12584.75),(4744.75,12584.75),(4744.75,12575.25),(4735.25,12575.25),(4704.75,12575.25),(4695.25,12575.25),(4664.75,12575.25),(4655.25,12575.25),(4635.25,12575.25),(4635.25,12564.75),(4644.75,12564.75),(4644.75,12555.25),(4675.25,12555.25),(4675.25,12564.75),(4684.75,12564.75),(4684.75,12555.25),(4715.25,12555.25),(4715.25,12564.75),(4724.75,12564.75),(4724.75,12555.25),(4755.25,12555.25),(4755.25,12564.75),(4764.75,12564.75),(4764.75,12555.25),(4755.25,12555.25),(4724.75,12555.25),(4715.25,12555.25),(4684.75,12555.25),(4675.25,12555.25),(4644.75,12555.25),(4635.25,12555.25),(4635.25,12535.25),(4655.25,12535.25),(4655.25,12544.75),(4664.75,12544.75),(4664.75,12535.25),(4695.25,12535.25),(4695.25,12544.75),(4704.75,12544.75),(4704.75,12535.25),(4735.25,12535.25),(4735.25,12544.75),(4744.75,12544.75),(4744.75,12535.25),(4735.25,12535.25),(4704.75,12535.25),(4695.25,12535.25),(4664.75,12535.25),(4655.25,12535.25),(4635.25,12535.25),(4635.25,12524.75),(4644.75,12524.75),(4644.75,12515.25),(4675.25,12515.25),(4675.25,12524.75),(4684.75,12524.75),(4684.75,12515.25),(4715.25,12515.25),(4715.25,12524.75),(4724.75,12524.75),(4724.75,12515.25),(4755.25,12515.25),(4755.25,12524.75),(4764.75,12524.75),(4764.75,12515.25),(4755.25,12515.25),(4724.75,12515.25),(4715.25,12515.25),(4684.75,12515.25),(4675.25,12515.25),(4644.75,12515.25),(4635.25,12515.25),(4635.25,12495.25),(4655.25,12495.25),(4655.25,12504.75),(4664.75,12504.75),(4664.75,12495.25),(4695.25,12495.25),(4695.25,12504.75),(4704.75,12504.75),(4704.75,12495.25),(4735.25,12495.25),(4735.25,12504.75),(4744.75,12504.75),(4744.75,12495.25),(4735.25,12495.25),(4704.75,12495.25),(4695.25,12495.25),(4664.75,12495.25),(4655.25,12495.25),(4635.25,12495.25),(4635.25,12488),(4775.25,12488),(4775.25,12652)],
  [(4784.75,12615.25),(4815.25,12615.25),(4815.25,12624.75),(4824.75,12624.75),(4824.75,12615.25),(4855.25,12615.25),(4855.25,12624.75),(4864.75,12624.75),(4864.75,12615.25),(4895.25,12615.25),(4895.25,12624.75),(4904.75,12624.75),(4904.75,12615.25),(4775.25,12615.25),(4775.25,12595.25),(4795.25,12595.25),(4795.25,12604.75),(4804.75,12604.75),(4804.75,12595.25),(4835.25,12595.25),(4835.25,12604.75),(4844.75,12604.75),(4844.75,12595.25),(4875.25,12595.25),(4875.25,12604.75),(4884.75,12604.75),(4884.75,12595.25),(4775.25,12595.25),(4775.25,12584.75),(4784.75,12584.75),(4784.75,12575.25),(4815.25,12575.25),(4815.25,12584.75),(4824.75,12584.75),(4824.75,12575.25),(4855.25,12575.25),(4855.25,12584.75),(4864.75,12584.75),(4864.75,12575.25),(4895.25,12575.25),(4895.25,12584.75),(4909,12581),(4909,12642),(4915,12648),(5285,12648),(5291,12642),(5291,12581),(5285,12575),(4915,12575),(4909,12581),(4904.75,12581),(4904.75,12575.25),(4775.25,12575.25),(4775.25,12555.25),(4795.25,12555.25),(4795.25,12564.75),(4804.75,12564.75),(4804.75,12555.25),(4835.25,12555.25),(4835.25,12564.75),(4844.75,12564.75),(4844.75,12555.25),(4875.25,12555.25),(4875.25,12564.75),(4884.75,12564.75),(4884.75,12555.25),(4775.25,12555.25),(4775.25,12544.75),(4784.75,12544.75),(4784.75,12535.25),(4815.25,12535.25),(4815.25,12544.75),(4824.75,12544.75),(4824.75,12535.25),(4855.25,12535.25),(4855.25,12544.75),(4864.75,12544.75),(4864.75,12535.25),(4895.25,12535.25),(4895.25,12544.75),(4904.75,12544.75),(4904.75,12535.25),(4775.25,12535.25),(4775.25,12515.25),(4795.25,12515.25),(4795.25,12524.75),(4804.75,12524.75),(4804.75,12515.25),(4835.25,12515.25),(4835.25,12524.75),(4844.75,12524.75),(4844.75,12515.25),(4875.25,12515.25),(4875.25,12524.75),(4884.75,12524.75),(4884.75,12515.25),(4775.25,12515.25),(4775.25,12504.75),(4784.75,12504.75),(4784.75,12495.25),(4815.25,12495.25),(4815.25,12504.75),(4824.75,12504.75),(4824.75,12495.25),(4855.25,12495.25),(4855.25,12504.75),(4864.75,12504.75),(4864.75,12495.25),(4895.25,12495.25),(4895.25,12504.75),(4904.75,12504.75),(4904.75,12498),(4909,12498),(4909,12559),(4915,12565),(5285,12565),(5291,12559),(5291,12498),(5285,12492),(4915,12492),(4904.75,12498),(4775.25,12495.25),(4775.25,12488),(5291,12488),(5291,12460),(5487,12460),(5487,12880),(4775.25,12880),(4775.25,12680),(5291,12680),(5291,12652),(4775.25,12652),(4775.25,12635.25),(4795.25,12635.25),(4795.25,12644.75),(4804.75,12644.75),(4804.75,12635.25),(4835.25,12635.25),(4835.25,12644.75),(4844.75,12644.75),(4844.75,12635.25),(4875.25,12635.25),(4875.25,12644.75),(4884.75,12644.75),(4884.75,12635.25),(4775.25,12635.25),(4775.25,12624.75),(4784.75,12624.75)])

lib.write_gds('row60_FSN_left.gds')
